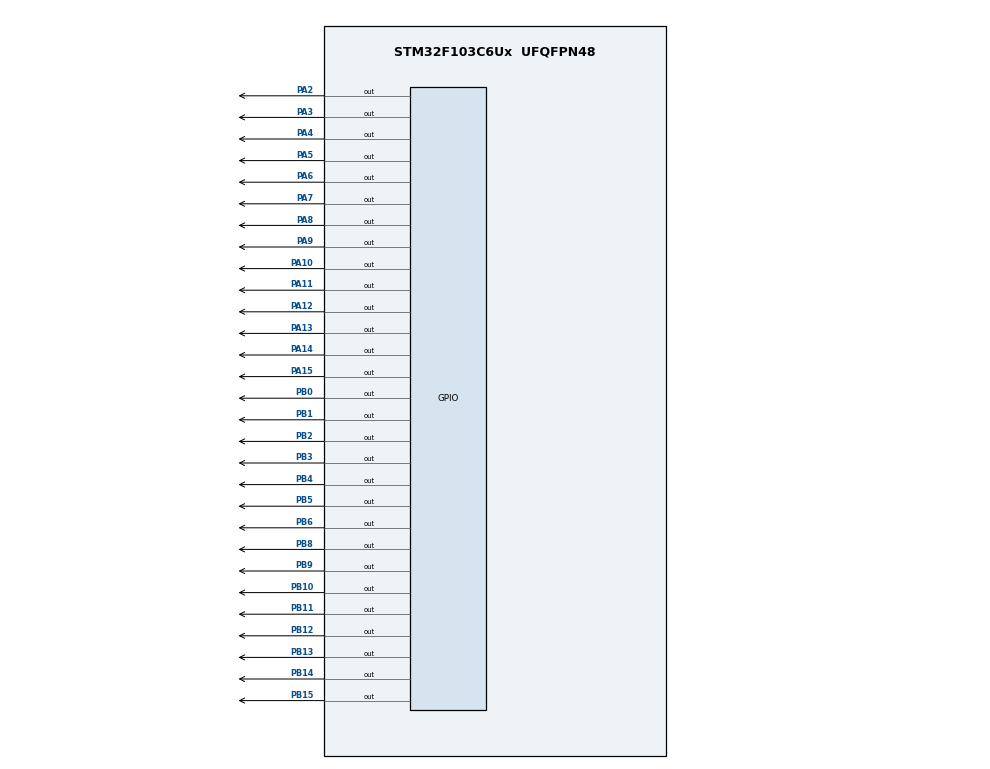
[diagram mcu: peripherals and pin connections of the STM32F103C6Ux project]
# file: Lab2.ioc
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Mcu.Family=STM32F1
Mcu.Name=STM32F103C6Ux
Mcu.Package=UFQFPN48
NVIC.PriorityGroup=NVIC_PRIORITYGROUP_4
NVIC.TIM2_IRQn=true\:0\:0\:false\:false\:true\:true\:true\:true
PA10.Signal=GPIO_Output
PA11.Signal=GPIO_Output
PA12.Signal=GPIO_Output
PA13.Signal=GPIO_Output
PA14.Signal=GPIO_Output
PA15.Signal=GPIO_Output
PA2.Signal=GPIO_Output
PA3.Signal=GPIO_Output
PA4.Signal=GPIO_Output
PA5.Signal=GPIO_Output
PA6.Signal=GPIO_Output
PA7.Signal=GPIO_Output
PA8.Signal=GPIO_Output
PA9.Signal=GPIO_Output
PB0.Signal=GPIO_Output
PB1.Signal=GPIO_Output
PB10.Signal=GPIO_Output
PB11.Signal=GPIO_Output
PB12.Signal=GPIO_Output
PB13.Signal=GPIO_Output
PB14.Signal=GPIO_Output
PB15.Signal=GPIO_Output
PB2.Signal=GPIO_Output
PB3.Signal=GPIO_Output
PB4.Signal=GPIO_Output
PB5.Signal=GPIO_Output
PB6.Signal=GPIO_Output
PB8.Signal=GPIO_Output
PB9.Signal=GPIO_Output
ProjectManager.HeapSize=0x200
ProjectManager.StackSize=0x400
ProjectManager.TargetToolchain=CMake
RCC.APB1Freq_Value=8000000
RCC.APB2Freq_Value=8000000
TIM2.Period=9
TIM2.Prescaler=7999
VP_SYS_VS_ND.Mode=No_Debug
VP_TIM2_VS_ClockSourceINT.Mode=Internal
board=custom

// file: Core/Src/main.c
/* USER CODE BEGIN Header */
/**
 ******************************************************************************
 * @file           : main.c
 * @brief          : Main program body
 ******************************************************************************
 * @attention
 *
 * Copyright (c) 2026 STMicroelectronics.
 * All rights reserved.
 *
 * This software is licensed under terms that can be found in the LICENSE file
 * in the root directory of this software component.
 * If no LICENSE file comes with this software, it is provided AS-IS.
 *
 ******************************************************************************
 */
/* USER CODE END Header */
#include "main.h"

TIM_HandleTypeDef htim2;

void SystemClock_Config(void);
static void MX_GPIO_Init(void);
static void MX_TIM2_Init(void);

/* USER CODE BEGIN 0 */
void display7SEG(int num) {
  uint8_t seg_map[10] = {
      0b1000000, // 0
      0b1111001, // 1
      0b0100100, // 2
      0b0110000, // 3
      0b0011001, // 4
      0b0010010, // 5
      0b0000010, // 6
      0b1111000, // 7
      0b0000000, // 8
      0b0010000  // 9
  };

  if (num >= 0 && num <= 9) {
    uint8_t mask = seg_map[num];
    HAL_GPIO_WritePin(GPIOB, GPIO_PIN_0,
                      (mask & 0x01) ? GPIO_PIN_SET : GPIO_PIN_RESET);
    HAL_GPIO_WritePin(GPIOB, GPIO_PIN_1,
                      (mask & 0x02) ? GPIO_PIN_SET : GPIO_PIN_RESET);
    HAL_GPIO_WritePin(GPIOB, GPIO_PIN_2,
                      (mask & 0x04) ? GPIO_PIN_SET : GPIO_PIN_RESET);
    HAL_GPIO_WritePin(GPIOB, GPIO_PIN_3,
                      (mask & 0x08) ? GPIO_PIN_SET : GPIO_PIN_RESET);
    HAL_GPIO_WritePin(GPIOB, GPIO_PIN_4,
                      (mask & 0x10) ? GPIO_PIN_SET : GPIO_PIN_RESET);
    HAL_GPIO_WritePin(GPIOB, GPIO_PIN_5,
                      (mask & 0x20) ? GPIO_PIN_SET : GPIO_PIN_RESET);
    HAL_GPIO_WritePin(GPIOB, GPIO_PIN_6,
                      (mask & 0x40) ? GPIO_PIN_SET : GPIO_PIN_RESET);
  }
}

const int MAX_LED = 4;
int index_led = 0;
int led_buffer[4] = {1, 2, 3, 4};
void update7SEG(int index) {
    switch (index) {
        case 0:
            HAL_GPIO_WritePin(GPIOA, GPIO_PIN_6, GPIO_PIN_RESET);
            HAL_GPIO_WritePin(GPIOA, GPIO_PIN_7 | GPIO_PIN_8 | GPIO_PIN_9, GPIO_PIN_SET);
            display7SEG(led_buffer[0]);
            break;

        case 1:
            HAL_GPIO_WritePin(GPIOA, GPIO_PIN_7, GPIO_PIN_RESET);
            HAL_GPIO_WritePin(GPIOA, GPIO_PIN_6 | GPIO_PIN_8 | GPIO_PIN_9, GPIO_PIN_SET);
            display7SEG(led_buffer[1]);
            break;

        case 2:
            HAL_GPIO_WritePin(GPIOA, GPIO_PIN_8, GPIO_PIN_RESET);
            HAL_GPIO_WritePin(GPIOA, GPIO_PIN_6 | GPIO_PIN_7 | GPIO_PIN_9, GPIO_PIN_SET);
            display7SEG(led_buffer[2]);
            break;

        case 3:
            HAL_GPIO_WritePin(GPIOA, GPIO_PIN_9, GPIO_PIN_RESET);
            HAL_GPIO_WritePin(GPIOA, GPIO_PIN_6 | GPIO_PIN_7 | GPIO_PIN_8, GPIO_PIN_SET);
            display7SEG(led_buffer[3]);
            break;

        default:
            HAL_GPIO_WritePin(GPIOA, GPIO_PIN_6 | GPIO_PIN_7 | GPIO_PIN_8 | GPIO_PIN_9, GPIO_PIN_SET);
            break;
    }
}

int hour = 15, minute = 8, second = 50;
void updateClockBuffer(){
  led_buffer[0] = hour / 10;
  led_buffer[1] = hour % 10;
  led_buffer[2] = minute / 10;
  led_buffer[3] = minute % 10;
}

//Time Cycle
int TIME_CYCLE = 10;
// Software Timer 0
int timer0_counter = 0;
int timer0_flag = 0;
void setTimer0 (int duration){
  timer0_counter = duration/TIME_CYCLE;
  timer0_flag = 0;
}
// Software Timer 1
int timer1_counter = 0;
int timer1_flag = 0;
void setTimer1 (int duration){
  timer1_counter = duration/TIME_CYCLE;
  timer1_flag = 0;
}
// Software Timer 2
int timer2_counter = 0;
int timer2_flag = 0;
void setTimer2(int duration){
  timer2_counter = duration/TIME_CYCLE;
  timer2_flag = 0;
}
// Software Timer 3
int timer3_counter = 0;
int timer3_flag = 0;

void setTimer3(int duration) {
    timer3_counter = duration / TIME_CYCLE;
    timer3_flag = 0;
}
void timer_run(){
  if (timer0_counter > 0){
    timer0_counter--;
    if (timer0_counter == 0){
      timer0_flag = 1;
    }
  }
  if (timer1_counter > 0){
    timer1_counter--;
    if (timer1_counter == 0){
      timer1_flag = 1;
    }
  }
  if (timer2_counter > 0){
    timer2_counter--;
    if (timer2_counter == 0){
      timer2_flag = 1;
    }
  }
  if (timer3_counter > 0) {
      timer3_counter--;
      if (timer3_counter == 0) timer3_flag = 1;
  }
}

// matrix
const int MAX_LED_MATRIX = 8;
int index_led_matrix = 0;
uint8_t matrix_buffer[8] = {0x00, 0x7C, 0x12, 0x11, 0x11, 0x12, 0x7C, 0x00};
void setMatrixRow(uint8_t value) {
    HAL_GPIO_WritePin(GPIOB, GPIO_PIN_8,  (value & 0x01) ? GPIO_PIN_RESET : GPIO_PIN_SET);
    HAL_GPIO_WritePin(GPIOB, GPIO_PIN_9,  (value & 0x02) ? GPIO_PIN_RESET : GPIO_PIN_SET);
    HAL_GPIO_WritePin(GPIOB, GPIO_PIN_10, (value & 0x04) ? GPIO_PIN_RESET : GPIO_PIN_SET);
    HAL_GPIO_WritePin(GPIOB, GPIO_PIN_11, (value & 0x08) ? GPIO_PIN_RESET : GPIO_PIN_SET);
    HAL_GPIO_WritePin(GPIOB, GPIO_PIN_12, (value & 0x10) ? GPIO_PIN_RESET : GPIO_PIN_SET);
    HAL_GPIO_WritePin(GPIOB, GPIO_PIN_13, (value & 0x20) ? GPIO_PIN_RESET : GPIO_PIN_SET);
    HAL_GPIO_WritePin(GPIOB, GPIO_PIN_14, (value & 0x40) ? GPIO_PIN_RESET : GPIO_PIN_SET);
    HAL_GPIO_WritePin(GPIOB, GPIO_PIN_15, (value & 0x80) ? GPIO_PIN_RESET : GPIO_PIN_SET);
}

void clearAllMatrixColumns(){
  HAL_GPIO_WritePin(GPIOA, GPIO_PIN_2 | GPIO_PIN_3 | GPIO_PIN_10 | GPIO_PIN_11 |
                             GPIO_PIN_12 | GPIO_PIN_13 | GPIO_PIN_14 | GPIO_PIN_15, GPIO_PIN_SET);
}
void updateLEDMatrix(int index){
  clearAllMatrixColumns();
  switch (index) {
        case 0:
            HAL_GPIO_WritePin(GPIOA, GPIO_PIN_2, GPIO_PIN_RESET);
            break;
        case 1:
            HAL_GPIO_WritePin(GPIOA, GPIO_PIN_3, GPIO_PIN_RESET);
            break;
        case 2:
            HAL_GPIO_WritePin(GPIOA, GPIO_PIN_10, GPIO_PIN_RESET);
            break;
        case 3:
            HAL_GPIO_WritePin(GPIOA, GPIO_PIN_11, GPIO_PIN_RESET);
            break;
        case 4:
            HAL_GPIO_WritePin(GPIOA, GPIO_PIN_12, GPIO_PIN_RESET);
            break;
        case 5:
            HAL_GPIO_WritePin(GPIOA, GPIO_PIN_13, GPIO_PIN_RESET);
            break;
        case 6:
            HAL_GPIO_WritePin(GPIOA, GPIO_PIN_14, GPIO_PIN_RESET);
            break;
        case 7:
            HAL_GPIO_WritePin(GPIOA, GPIO_PIN_15, GPIO_PIN_RESET);
            break;
        default:
            break;
    }
    if (index >= 0 && index < MAX_LED_MATRIX) {
        setMatrixRow(matrix_buffer[index]);
    }
}

// shift matrix
void shiftLeftMatrix_RowBased(void) {
    for (int i = 0; i < MAX_LED_MATRIX; i++) {
        matrix_buffer[i] = (uint8_t)((matrix_buffer[i] << 1) | (matrix_buffer[i] >> 7));
    }
}

/* USER CODE END 0 */

int main(void)
{

  /* MCU Configuration--------------------------------------------------------*/

  /* Reset of all peripherals, Initializes the Flash interface and the Systick. */
  HAL_Init();

  /* Configure the system clock */
  SystemClock_Config();

  /* Initialize all configured peripherals */
  MX_GPIO_Init();
  MX_TIM2_Init();
  /* USER CODE BEGIN 2 */
  __HAL_RCC_AFIO_CLK_ENABLE();
  __HAL_AFIO_REMAP_SWJ_NOJTAG();
  HAL_GPIO_WritePin(GPIOA, GPIO_PIN_6 | GPIO_PIN_7 | GPIO_PIN_8 | GPIO_PIN_9,
                    GPIO_PIN_SET);
  HAL_TIM_Base_Start_IT(&htim2);
  /* USER CODE END 2 */

  /* Infinite loop */
  /* USER CODE BEGIN WHILE */
  updateClockBuffer();
  setTimer0(1000);
  setTimer1(250);
  setTimer2(20);
  setTimer3(100);
  while (1) {
    if (timer0_flag == 1){
      setTimer0(1000);
      HAL_GPIO_TogglePin(GPIOA, GPIO_PIN_4);
      second++;
      if (second >= 60){
        minute++;
        second = 0;
      }
      if (minute >= 60){
        hour++;
        minute = 0;
      }
      if (hour >= 24){
        hour = 0;
      }
      updateClockBuffer();
    }
    if (timer1_flag == 1){
      setTimer1(250);
      update7SEG(index_led);
      index_led++;
      if (index_led >= MAX_LED){
        index_led = 0;
      }
    }
    if (timer2_flag == 1){
      setTimer2(20);
      updateLEDMatrix(index_led_matrix);
      index_led_matrix++;
      if (index_led_matrix >= MAX_LED_MATRIX){
        index_led_matrix = 0;
      }
    }
    if (timer3_flag == 1) {
          setTimer3(100);
          shiftLeftMatrix_RowBased();
      }
    /* USER CODE END WHILE */

  }
}

void SystemClock_Config(void)
{
  RCC_OscInitTypeDef RCC_OscInitStruct = {0};
  RCC_ClkInitTypeDef RCC_ClkInitStruct = {0};

  /** Initializes the RCC Oscillators according to the specified parameters
  * in the RCC_OscInitTypeDef structure.
  */
  RCC_OscInitStruct.OscillatorType = RCC_OSCILLATORTYPE_HSI;
  RCC_OscInitStruct.HSIState = RCC_HSI_ON;
  RCC_OscInitStruct.HSICalibrationValue = RCC_HSICALIBRATION_DEFAULT;
  RCC_OscInitStruct.PLL.PLLState = RCC_PLL_NONE;
  if (HAL_RCC_OscConfig(&RCC_OscInitStruct) != HAL_OK)
  {
    Error_Handler();
  }

  /** Initializes the CPU, AHB and APB buses clocks
  */
  RCC_ClkInitStruct.ClockType = RCC_CLOCKTYPE_HCLK|RCC_CLOCKTYPE_SYSCLK
                              |RCC_CLOCKTYPE_PCLK1|RCC_CLOCKTYPE_PCLK2;
  RCC_ClkInitStruct.SYSCLKSource = RCC_SYSCLKSOURCE_HSI;
  RCC_ClkInitStruct.AHBCLKDivider = RCC_SYSCLK_DIV1;
  RCC_ClkInitStruct.APB1CLKDivider = RCC_HCLK_DIV1;
  RCC_ClkInitStruct.APB2CLKDivider = RCC_HCLK_DIV1;

  if (HAL_RCC_ClockConfig(&RCC_ClkInitStruct, FLASH_LATENCY_0) != HAL_OK)
  {
    Error_Handler();
  }
}

static void MX_TIM2_Init(void)
{

  TIM_ClockConfigTypeDef sClockSourceConfig = {0};
  TIM_MasterConfigTypeDef sMasterConfig = {0};

  htim2.Instance = TIM2;
  htim2.Init.Prescaler = 7999;
  htim2.Init.CounterMode = TIM_COUNTERMODE_UP;
  htim2.Init.Period = 9;
  htim2.Init.ClockDivision = TIM_CLOCKDIVISION_DIV1;
  htim2.Init.AutoReloadPreload = TIM_AUTORELOAD_PRELOAD_DISABLE;
  if (HAL_TIM_Base_Init(&htim2) != HAL_OK)
  {
    Error_Handler();
  }
  sClockSourceConfig.ClockSource = TIM_CLOCKSOURCE_INTERNAL;
  if (HAL_TIM_ConfigClockSource(&htim2, &sClockSourceConfig) != HAL_OK)
  {
    Error_Handler();
  }
  sMasterConfig.MasterOutputTrigger = TIM_TRGO_RESET;
  sMasterConfig.MasterSlaveMode = TIM_MASTERSLAVEMODE_DISABLE;
  if (HAL_TIMEx_MasterConfigSynchronization(&htim2, &sMasterConfig) != HAL_OK)
  {
    Error_Handler();
  }

}

static void MX_GPIO_Init(void)
{
  GPIO_InitTypeDef GPIO_InitStruct = {0};

  /* GPIO Ports Clock Enable */
  __HAL_RCC_GPIOA_CLK_ENABLE();
  __HAL_RCC_GPIOB_CLK_ENABLE();

  /*Configure GPIO pin Output Level */
  HAL_GPIO_WritePin(GPIOA, GPIO_PIN_2|GPIO_PIN_3|GPIO_PIN_4|GPIO_PIN_5
                          |GPIO_PIN_6|GPIO_PIN_7|GPIO_PIN_8|GPIO_PIN_9
                          |GPIO_PIN_10|GPIO_PIN_11|GPIO_PIN_12|GPIO_PIN_13
                          |GPIO_PIN_14|GPIO_PIN_15, GPIO_PIN_RESET);

  /*Configure GPIO pin Output Level */
  HAL_GPIO_WritePin(GPIOB, GPIO_PIN_0|GPIO_PIN_1|GPIO_PIN_2|GPIO_PIN_10
                          |GPIO_PIN_11|GPIO_PIN_12|GPIO_PIN_13|GPIO_PIN_14
                          |GPIO_PIN_15|GPIO_PIN_3|GPIO_PIN_4|GPIO_PIN_5
                          |GPIO_PIN_6|GPIO_PIN_8|GPIO_PIN_9, GPIO_PIN_RESET);

  /*Configure GPIO pins : PA2 PA3 PA4 PA5
                           PA6 PA7 PA8 PA9
                           PA10 PA11 PA12 PA13
                           PA14 PA15 */
  GPIO_InitStruct.Pin = GPIO_PIN_2|GPIO_PIN_3|GPIO_PIN_4|GPIO_PIN_5
                          |GPIO_PIN_6|GPIO_PIN_7|GPIO_PIN_8|GPIO_PIN_9
                          |GPIO_PIN_10|GPIO_PIN_11|GPIO_PIN_12|GPIO_PIN_13
                          |GPIO_PIN_14|GPIO_PIN_15;
  GPIO_InitStruct.Mode = GPIO_MODE_OUTPUT_PP;
  GPIO_InitStruct.Pull = GPIO_NOPULL;
  GPIO_InitStruct.Speed = GPIO_SPEED_FREQ_LOW;
  HAL_GPIO_Init(GPIOA, &GPIO_InitStruct);

  /*Configure GPIO pins : PB0 PB1 PB2 PB10
                           PB11 PB12 PB13 PB14
                           PB15 PB3 PB4 PB5
                           PB6 PB8 PB9 */
  GPIO_InitStruct.Pin = GPIO_PIN_0|GPIO_PIN_1|GPIO_PIN_2|GPIO_PIN_10
                          |GPIO_PIN_11|GPIO_PIN_12|GPIO_PIN_13|GPIO_PIN_14
                          |GPIO_PIN_15|GPIO_PIN_3|GPIO_PIN_4|GPIO_PIN_5
                          |GPIO_PIN_6|GPIO_PIN_8|GPIO_PIN_9;
  GPIO_InitStruct.Mode = GPIO_MODE_OUTPUT_PP;
  GPIO_InitStruct.Pull = GPIO_NOPULL;
  GPIO_InitStruct.Speed = GPIO_SPEED_FREQ_LOW;
  HAL_GPIO_Init(GPIOB, &GPIO_InitStruct);

}

/* USER CODE BEGIN 4 */
int counter = 25;
void HAL_TIM_PeriodElapsedCallback(TIM_HandleTypeDef *htim) {
  timer_run();
}
/* USER CODE END 4 */

void Error_Handler(void)
{
  __disable_irq();
  while (1) {
  }
}
#ifdef USE_FULL_ASSERT
/**
  * @brief  Reports the name of the source file and the source line number
  *         where the assert_param error has occurred.
  * @param  file: pointer to the source file name
  * @param  line: assert_param error line source number
  * @retval None
  */
void assert_failed(uint8_t *file, uint32_t line)
{
  /* USER CODE BEGIN 6 */
  /* User can add his own implementation to report the file name and line
     number, ex: printf("Wrong parameters value: file %s on line %d\r\n", file,
     line) */
  /* USER CODE END 6 */
}
#endif /* USE_FULL_ASSERT */
